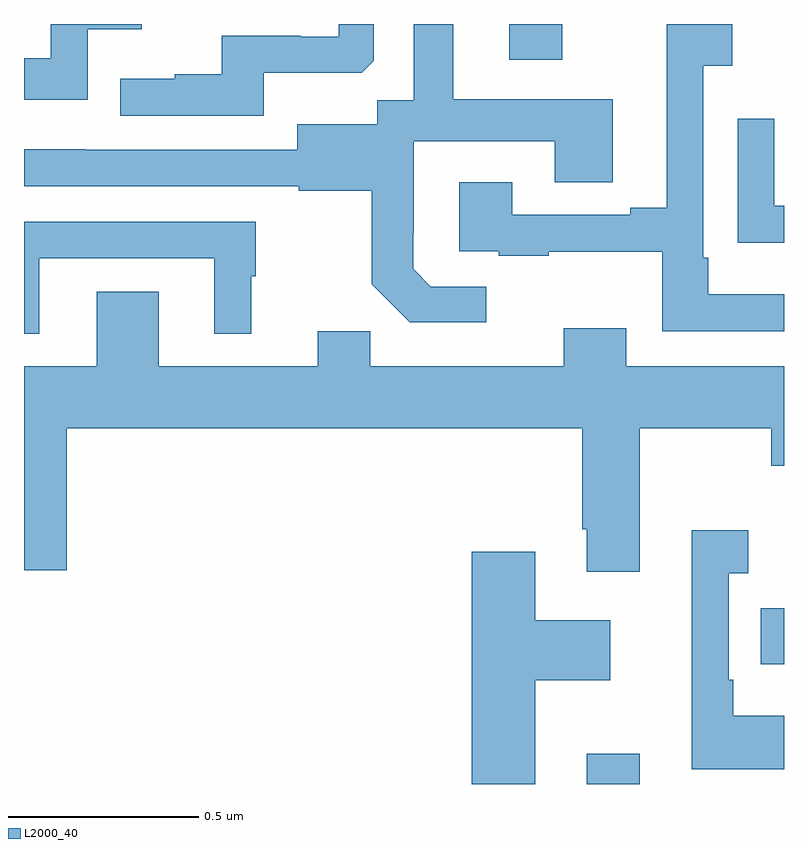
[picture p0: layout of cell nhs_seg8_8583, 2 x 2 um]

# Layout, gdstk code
import gdstk
lib = gdstk.Library(unit=1e-6, precision=1e-09)
def R(c, l, rs):  # rectangles x0, y0, x1, y1
    for r in rs: c.add(gdstk.rectangle(r[:2], r[2:], *l))
def P(c, l, *ps):  # polygons
    for p in ps: c.add(gdstk.Polygon(p, *l))
L2000_40 = (2000, 40)

nhs_seg8_8583 = lib.new_cell('nhs_seg8_8583')
R(nhs_seg8_8583, L2000_40, [(226.481,1112.9,226.621,1112.98), (226.939,1113.215,227,1113.363), (226.277,1114.806,226.417,1114.9)])
P(nhs_seg8_8583, L2000_40, [(225.631,1114.772),(225.889,1114.772),(225.921,1114.803),(225.921,1114.9),(225.828,1114.9),(225.828,1114.866),(225.728,1114.866),(225.728,1114.869),(225.521,1114.869),(225.521,1114.768),(225.397,1114.768),(225.397,1114.756),(225.253,1114.756),(225.253,1114.659),(225.631,1114.659)],
  [(227,1114.189),(226.801,1114.189),(226.801,1114.285),(226.788,1114.285),(226.788,1114.79),(226.864,1114.79),(226.864,1114.9),(226.691,1114.9),(226.691,1114.417),(226.595,1114.417),(226.595,1114.398),(226.285,1114.398),(226.285,1114.483),(226.145,1114.483),(226.145,1114.302),(226.249,1114.302),(226.249,1114.29),(226.381,1114.29),(226.381,1114.301),(226.68,1114.301),(226.68,1114.092),(227,1114.092)],
  [(226.216,1114.209),(226.071,1114.209),(226.024,1114.256),(226.024,1114.351),(226.026,1114.351),(226.026,1114.592),(226.397,1114.592),(226.397,1114.483),(226.549,1114.483),(226.549,1114.702),(226.129,1114.702),(226.129,1114.9),(226.025,1114.9),(226.025,1114.7),(225.93,1114.7),(225.93,1114.636),(225.719,1114.636),(225.719,1114.569),(225.161,1114.569),(225.161,1114.57),(225,1114.57),(225,1114.473),(225.723,1114.473),(225.723,1114.461),(225.915,1114.461),(225.915,1114.215),(226.015,1114.115),(226.216,1114.115)],
  [(225.168,1114.886),(225.31,1114.886),(225.31,1114.9),(225.07,1114.9),(225.07,1114.81),(225,1114.81),(225,1114.701),(225.168,1114.701)],
  [(227,1114.422),(226.974,1114.422),(226.974,1114.651),(226.878,1114.651),(226.878,1114.325),(227,1114.325)],
  [(225.04,1114.284),(225.5,1114.284),(225.5,1114.085),(225.598,1114.085),(225.598,1114.236),(225.61,1114.236),(225.61,1114.38),(225,1114.38),(225,1114.085),(225.04,1114.085)],
  [(226.621,1113.836),(226.966,1113.836),(226.966,1113.737),(227,1113.737),(227,1114),(226.585,1114),(226.585,1114.099),(226.421,1114.099),(226.421,1114),(225.911,1114),(225.911,1114.091),(225.773,1114.091),(225.773,1114),(225.355,1114),(225.355,1114.195),(225.191,1114.195),(225.191,1114),(225,1114),(225,1113.462),(225.112,1113.462),(225.112,1113.836),(226.469,1113.836),(226.469,1113.571),(226.481,1113.571),(226.481,1113.459),(226.621,1113.459)],
  [(227,1113.079),(226.867,1113.079),(226.867,1113.175),(226.854,1113.175),(226.854,1113.455),(226.906,1113.455),(226.906,1113.568),(226.757,1113.568),(226.757,1112.939),(227,1112.939)],
  [(226.345,1113.173),(226.543,1113.173),(226.543,1113.331),(226.345,1113.331),(226.345,1113.511),(226.178,1113.511),(226.178,1112.9),(226.345,1112.9)])

lib.write_gds('nhs_seg8_8583.gds')
